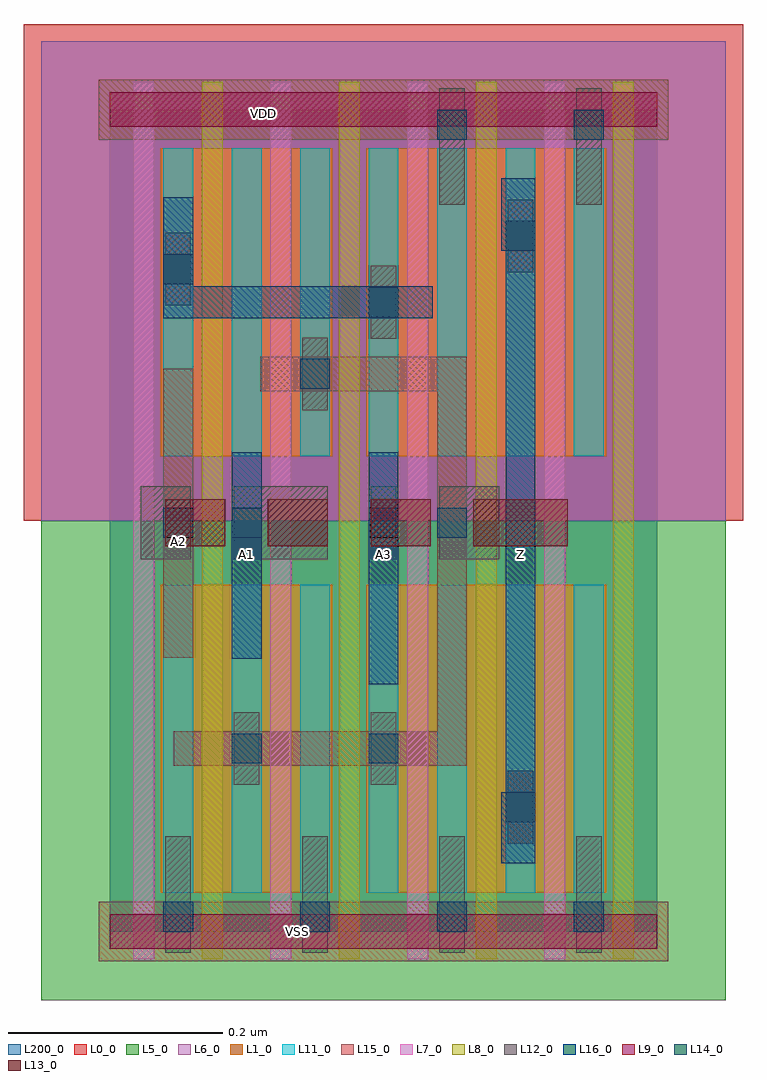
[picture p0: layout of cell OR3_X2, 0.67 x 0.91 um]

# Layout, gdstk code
import gdstk
lib = gdstk.Library(unit=1e-6, precision=1e-09)
def R(c, l, rs):  # rectangles x0, y0, x1, y1
    for r in rs: c.add(gdstk.rectangle(r[:2], r[2:], *l))
def A(c, l, x, y, w, h, nx, ny, dx, dy):  # array of equal rectangles
    R(c, l, [(x+i*dx, y+j*dy, x+i*dx+w, y+j*dy+h) for i in range(nx) for j in range(ny)])
def P(c, l, *ps):  # polygons
    for p in ps: c.add(gdstk.Polygon(p, *l))
L0_0 = (0, 0)
L1_0 = (1, 0)
L5_0 = (5, 0)
L6_0 = (6, 0)
L7_0 = (7, 0)
L8_0 = (8, 0)
L9_0 = (9, 0)
L11_0 = (11, 0)
L12_0 = (12, 0)
L13_0 = (13, 0)
L14_0 = (14, 0)
L15_0 = (15, 0)
L16_0 = (16, 0)
L200_0 = (200, 0)

or3_x2 = lib.new_cell('OR3_X2')
R(or3_x2, L0_0, [(-0.08,0.384,0.592,0.848)])
R(or3_x2, L1_0, [(0.048,0.036,0.208,0.324), (0.24,0.036,0.464,0.324), (0.048,0.444,0.208,0.732), (0.24,0.444,0.464,0.732)])
R(or3_x2, L5_0, [(-0.064,-0.064,0.576,0.384)])
R(or3_x2, L6_0, [(-0.064,0.384,0.576,0.832)])
A(or3_x2, L7_0, 0.022, -0.026, 0.02, 0.82, 4, 1, 0.128, 0)
A(or3_x2, L8_0, 0.086, -0.026, 0.02, 0.82, 4, 1, 0.128, 0)
R(or3_x2, L9_0, [(0,-0.016,0.512,0.016), (0,0.752,0.512,0.784)])
A(or3_x2, L11_0, 0.05, 0.036, 0.028, 0.288, 7, 2, 0.064, 0.408)
A(or3_x2, L12_0, 0.052, -0.02, 0.024, 0.109, 4, 1, 0.128, 0)
R(or3_x2, L12_0, [(0.372,0.082,0.396,0.15), (0.116,0.137,0.14,0.205), (0.244,0.137,0.268,0.205), (0.029,0.348,0.076,0.416), (0.116,0.348,0.204,0.416), (0.244,0.348,0.268,0.416), (0.308,0.348,0.364,0.416), (0.18,0.487,0.204,0.555), (0.244,0.554,0.268,0.622), (0.052,0.585,0.076,0.653), (0.372,0.616,0.396,0.684), (0.308,0.679,0.332,0.788), (0.436,0.679,0.46,0.788)])
A(or3_x2, L13_0, 0.052, 0.36, 0.056, 0.044, 3, 1, 0.096, 0)
R(or3_x2, L13_0, [(0.34,0.36,0.428,0.404)])
A(or3_x2, L14_0, 0.05, 0, 0.028, 0.028, 4, 1, 0.128, 0)
R(or3_x2, L14_0, [(0.37,0.102,0.398,0.13), (0.114,0.157,0.142,0.185), (0.242,0.157,0.27,0.185), (0.05,0.368,0.078,0.396), (0.114,0.368,0.142,0.396), (0.242,0.368,0.27,0.396), (0.306,0.368,0.334,0.396), (0.178,0.507,0.206,0.535), (0.242,0.574,0.27,0.602), (0.05,0.605,0.078,0.633), (0.37,0.636,0.398,0.664), (0.306,0.74,0.334,0.768), (0.434,0.74,0.462,0.768)])
R(or3_x2, L15_0, [(-0.01,-0.028,0.522,0.028), (0.05,0.256,0.078,0.526), (-0.01,0.74,0.522,0.796)])
P(or3_x2, L15_0, [(0.141,0.505),(0.306,0.505),(0.306,0.187),(0.06,0.187),(0.06,0.155),(0.334,0.155),(0.334,0.537),(0.141,0.537)])
R(or3_x2, L16_0, [(0.242,0.231,0.27,0.448), (0.114,0.255,0.142,0.448)])
P(or3_x2, L16_0, [(0.05,0.573),(0.302,0.573),(0.302,0.603),(0.078,0.603),(0.078,0.686),(0.05,0.686)],
  [(0.366,0.636),(0.37,0.636),(0.37,0.13),(0.366,0.13),(0.366,0.064),(0.398,0.064),(0.398,0.704),(0.366,0.704)])
R(or3_x2, L200_0, [(0,0,0.512,0.768)])
or3_x2.add(gdstk.Label('VDD', (0.144,0.764), layer=15, texttype=20))
or3_x2.add(gdstk.Label('VSS', (0.176,0), layer=15, texttype=20))
or3_x2.add(gdstk.Label('A2', (0.064,0.364), layer=15, texttype=20))
or3_x2.add(gdstk.Label('A1', (0.128,0.352), layer=16, texttype=20))
or3_x2.add(gdstk.Label('A3', (0.256,0.352), layer=16, texttype=20))
or3_x2.add(gdstk.Label('Z', (0.384,0.352), layer=16, texttype=20))

lib.write_gds('OR3_X2.gds')
